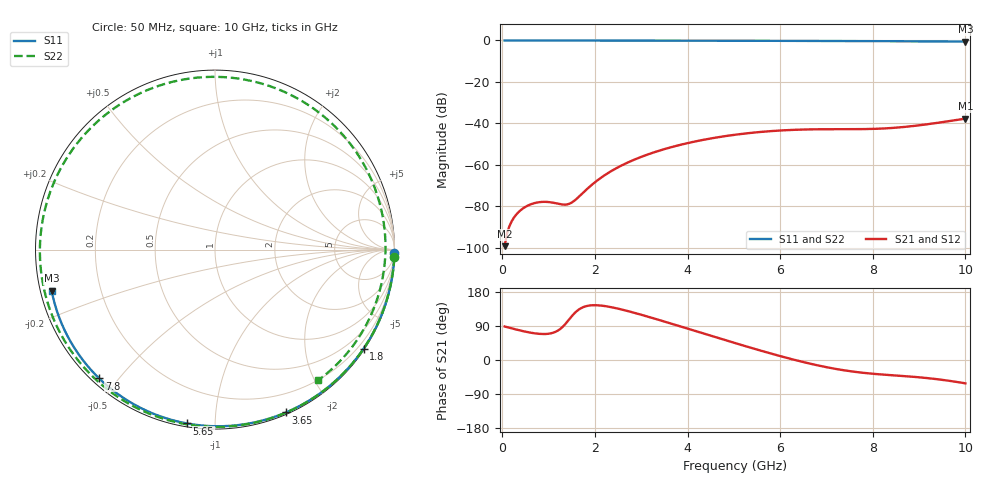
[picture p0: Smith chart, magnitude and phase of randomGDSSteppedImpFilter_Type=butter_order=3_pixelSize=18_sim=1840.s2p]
! freq	dB(S11)	phase(S11)	dB(S12)	phase(S12)
!  dB(S21)	phase(S21)	dB(S22)	phase(S22)
!S-par simulation data
#  GHz  S  DB  R 50
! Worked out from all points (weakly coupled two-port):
!   200 points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, 50 MHz to 10 GHz, reference 50 ohm
!   highest |S21| = -37.72 dB at 10 GHz (marker M1); lowest = -99.3 dB at 50 MHz (marker M2)
!   lowest |S11| = -0.6 dB at 10 GHz (marker M3), VSWR 31.57, Z = 1.61 - j6.2 ohm
!   |S11| at or under -10 dB: nowhere
!   |S22| runs from -0.7 to 0.0 dB; largest |S21 - S12| = 0
!   S11 on the Smith chart (normalised r, x): 50 MHz: open; 1.8 GHz: 0.03, -3.30; 3.65 GHz: 0.02, -1.53; 5.65 GHz: 0.02, -0.85; 7.8 GHz: 0.02, -0.45; 10 GHz: 0.03, -0.12
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0.05  -0.00 -1.0  -99.29 88.5  -99.29 88.5  -0.00 -2.4
0.5  -0.01 -9.5  -80.32 74.8  -80.32 74.8  -0.03 -23.3
0.65  -0.02 -12.3  -78.81 71.3  -78.81 71.3  -0.04 -30.3
0.95  -0.02 -18.0  -77.92 68.7  -77.92 68.7  -0.06 -44.0
1.4  -0.03 -26.4  -79.14 100.5  -79.14 100.5  -0.08 -64.1
1.55  -0.04 -29.1  -77.46 122.3  -77.46 122.3  -0.09 -70.7
1.75  -0.04 -32.8  -73.38 139.6  -73.38 139.6  -0.10 -79.4
1.8  -0.04 -33.7  -72.33 141.7  -72.33 141.7  -0.10 -81.5
2.15  -0.05 -40.1  -65.96 143.4  -65.96 143.4  -0.12 -96.3
2.55  -0.06 -47.3  -60.64 134.1  -60.64 134.1  -0.13 -112.9
3.4  -0.08 -62.2  -53.12 105.1  -53.12 105.1  -0.17 -147.1
3.65  -0.09 -66.5  -51.50 95.9  -51.50 95.9  -0.18 -157.1
4.35  -0.11 -78.2  -47.92 69.8  -47.92 69.8  -0.22 175.0
5.05  -0.14 -89.6  -45.44 43.8  -45.44 43.8  -0.26 146.5
5.65  -0.16 -99.1  -44.02 22.3  -44.02 22.3  -0.30 121.4
6.2  -0.19 -107.7  -43.23 3.8  -43.23 3.8  -0.32 97.8
6.7  -0.22 -115.3  -42.90 -11.1  -42.90 -11.1  -0.35 76.0
7.2  -0.26 -122.9  -42.83 -23.5  -42.83 -23.5  -0.37 54.4
7.8  -0.31 -132.0  -42.78 -33.9  -42.78 -33.9  -0.40 29.0
8.35  -0.36 -140.3  -42.34 -39.6  -42.34 -39.6  -0.43 6.8
9.1  -0.44 -151.7  -40.68 -46.8  -40.68 -46.8  -0.51 -21.3
10  -0.55 -165.8  -37.72 -61.6  -37.72 -61.6  -0.66 -51.8
